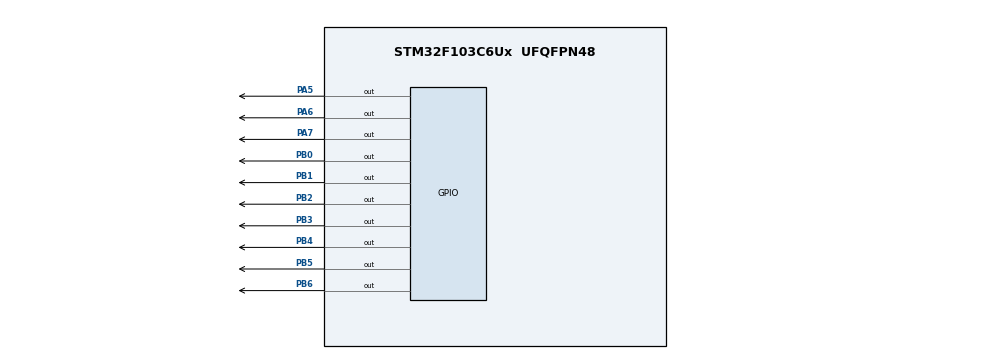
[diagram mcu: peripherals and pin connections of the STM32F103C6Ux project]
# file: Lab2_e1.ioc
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Mcu.Family=STM32F1
Mcu.Name=STM32F103C6Ux
Mcu.Package=UFQFPN48
NVIC.PriorityGroup=NVIC_PRIORITYGROUP_4
NVIC.TIM2_IRQn=true\:0\:0\:false\:false\:true\:true\:true
PA5.PinState=GPIO_PIN_SET
PA5.Signal=GPIO_Output
PA6.PinState=GPIO_PIN_SET
PA6.Signal=GPIO_Output
PA7.PinState=GPIO_PIN_SET
PA7.Signal=GPIO_Output
PB0.PinState=GPIO_PIN_SET
PB0.Signal=GPIO_Output
PB1.PinState=GPIO_PIN_SET
PB1.Signal=GPIO_Output
PB2.PinState=GPIO_PIN_SET
PB2.Signal=GPIO_Output
PB3.PinState=GPIO_PIN_SET
PB3.Signal=GPIO_Output
PB4.PinState=GPIO_PIN_SET
PB4.Signal=GPIO_Output
PB5.PinState=GPIO_PIN_SET
PB5.Signal=GPIO_Output
PB6.PinState=GPIO_PIN_SET
PB6.Signal=GPIO_Output
ProjectManager.HeapSize=0x200
ProjectManager.StackSize=0x400
ProjectManager.TargetToolchain=STM32CubeIDE
RCC.APB1Freq_Value=8000000
RCC.APB2Freq_Value=8000000
TIM2.Period=9
TIM2.Prescaler=7999
VP_SYS_VS_ND.Mode=No_Debug
VP_TIM2_VS_ClockSourceINT.Mode=Internal
board=custom

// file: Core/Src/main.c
/* USER CODE BEGIN Header */
/**
  ******************************************************************************
  * @file           : main.c
  * @brief          : Main program body
  ******************************************************************************
  * @attention
  *
  * <h2><center>&copy; Copyright (c) 2026 STMicroelectronics.
  * All rights reserved.</center></h2>
  *
  * This software component is licensed by ST under BSD 3-Clause license,
  * the "License"; You may not use this file except in compliance with the
  * License. You may obtain a copy of the License at:
  *                        opensource.org/licenses/BSD-3-Clause
  *
  ******************************************************************************
  */
/* USER CODE END Header */
#include "main.h"

/* USER CODE BEGIN PD */
#define SEG_A_Pin                  GPIO_PIN_0
#define SEG_B_Pin                  GPIO_PIN_1
#define SEG_C_Pin                  GPIO_PIN_2
#define SEG_D_Pin                  GPIO_PIN_3
#define SEG_E_Pin                  GPIO_PIN_4
#define SEG_F_Pin                  GPIO_PIN_5
#define SEG_G_Pin                  GPIO_PIN_6
#define SEG_GPIO_Port              GPIOB

#define EN0_Pin                    GPIO_PIN_6
#define EN1_Pin                    GPIO_PIN_7
#define EN_GPIO_Port               GPIOA

#define SEGMENT_PINS               (SEG_A_Pin | SEG_B_Pin | SEG_C_Pin | \
                                    SEG_D_Pin | SEG_E_Pin | SEG_F_Pin | \
                                    SEG_G_Pin)

#define DIGIT_ENABLE_PINS          (EN0_Pin | EN1_Pin)

/* TIM2 interrupt period is 10 ms.
 * 50 interrupts × 10 ms = 500 ms per digit.
 */
#define DIGIT_SLOT_TICKS           50U
/* USER CODE END PD */

TIM_HandleTypeDef htim2;

/* USER CODE BEGIN PV */

static volatile uint16_t scan_tick_count = 0U;
static volatile uint8_t active_digit = 0U;

/* USER CODE END PV */

void SystemClock_Config(void);
static void MX_GPIO_Init(void);
static void MX_TIM2_Init(void);

/* USER CODE BEGIN 0 */
static void disableAllDigits(void)
{
  /*
   * The PNP high-side digit drivers are active-low:
   * HIGH = digit disabled
   * LOW  = digit enabled
   */
  HAL_GPIO_WritePin(EN_GPIO_Port,
                    DIGIT_ENABLE_PINS,
                    GPIO_PIN_SET);
}

static void selectDigit(uint8_t index)
{
  if (index == 0U)
  {
    /* Enable the first seven-segment display. */
    HAL_GPIO_WritePin(EN_GPIO_Port,
                      EN0_Pin,
                      GPIO_PIN_RESET);
  }
  else
  {
    /* Enable the second seven-segment display. */
    HAL_GPIO_WritePin(EN_GPIO_Port,
                      EN1_Pin,
                      GPIO_PIN_RESET);
  }
}

void display7SEG(int num)
{
  static const uint16_t digit_pattern[10] =
  {
    0x3FU, /* 0: a b c d e f     */
    0x06U, /* 1:   b c           */
    0x5BU, /* 2: a b   d e   g   */
    0x4FU, /* 3: a b c d     g   */
    0x66U, /* 4:   b c     f g   */
    0x6DU, /* 5: a   c d   f g   */
    0x7DU, /* 6: a   c d e f g   */
    0x07U, /* 7: a b c           */
    0x7FU, /* 8: a b c d e f g   */
    0x6FU  /* 9: a b c d   f g   */
  };

  uint16_t on_pins;
  uint16_t off_pins;

  if ((num < 0) || (num > 9))
  {
    /* Invalid number: switch all segments off. */
    HAL_GPIO_WritePin(SEG_GPIO_Port,
                      SEGMENT_PINS,
                      GPIO_PIN_SET);
    return;
  }

  on_pins = digit_pattern[num] & SEGMENT_PINS;
  off_pins = SEGMENT_PINS & (uint16_t)(~on_pins);

  SEG_GPIO_Port->BSRR =
      (uint32_t)off_pins |
      ((uint32_t)on_pins << 16U);
}
/* USER CODE END 0 */

int main(void)
{

  /* MCU Configuration--------------------------------------------------------*/

  /* Reset of all peripherals, Initializes the Flash interface and the Systick. */
  HAL_Init();

  /* Configure the system clock */
  SystemClock_Config();

  /* Initialize all configured peripherals */
  MX_GPIO_Init();
  MX_TIM2_Init();
  /* USER CODE BEGIN 2 */
  scan_tick_count = 0U;
  active_digit = 0U;

  disableAllDigits();
  display7SEG(1);
  selectDigit(active_digit);

  if (HAL_TIM_Base_Start_IT(&htim2) != HAL_OK)
  {
    Error_Handler();
  }
  /* USER CODE END 2 */

  /* Infinite loop */
  while (1)
  {

  }
}

void SystemClock_Config(void)
{
  RCC_OscInitTypeDef RCC_OscInitStruct = {0};
  RCC_ClkInitTypeDef RCC_ClkInitStruct = {0};

  /** Initializes the RCC Oscillators according to the specified parameters
  * in the RCC_OscInitTypeDef structure.
  */
  RCC_OscInitStruct.OscillatorType = RCC_OSCILLATORTYPE_HSI;
  RCC_OscInitStruct.HSIState = RCC_HSI_ON;
  RCC_OscInitStruct.HSICalibrationValue = RCC_HSICALIBRATION_DEFAULT;
  RCC_OscInitStruct.PLL.PLLState = RCC_PLL_NONE;
  if (HAL_RCC_OscConfig(&RCC_OscInitStruct) != HAL_OK)
  {
    Error_Handler();
  }
  /** Initializes the CPU, AHB and APB buses clocks
  */
  RCC_ClkInitStruct.ClockType = RCC_CLOCKTYPE_HCLK|RCC_CLOCKTYPE_SYSCLK
                              |RCC_CLOCKTYPE_PCLK1|RCC_CLOCKTYPE_PCLK2;
  RCC_ClkInitStruct.SYSCLKSource = RCC_SYSCLKSOURCE_HSI;
  RCC_ClkInitStruct.AHBCLKDivider = RCC_SYSCLK_DIV1;
  RCC_ClkInitStruct.APB1CLKDivider = RCC_HCLK_DIV1;
  RCC_ClkInitStruct.APB2CLKDivider = RCC_HCLK_DIV1;

  if (HAL_RCC_ClockConfig(&RCC_ClkInitStruct, FLASH_LATENCY_0) != HAL_OK)
  {
    Error_Handler();
  }
}

static void MX_TIM2_Init(void)
{

  TIM_ClockConfigTypeDef sClockSourceConfig = {0};
  TIM_MasterConfigTypeDef sMasterConfig = {0};

  htim2.Instance = TIM2;
  htim2.Init.Prescaler = 7999;
  htim2.Init.CounterMode = TIM_COUNTERMODE_UP;
  htim2.Init.Period = 9;
  htim2.Init.ClockDivision = TIM_CLOCKDIVISION_DIV1;
  htim2.Init.AutoReloadPreload = TIM_AUTORELOAD_PRELOAD_DISABLE;
  if (HAL_TIM_Base_Init(&htim2) != HAL_OK)
  {
    Error_Handler();
  }
  sClockSourceConfig.ClockSource = TIM_CLOCKSOURCE_INTERNAL;
  if (HAL_TIM_ConfigClockSource(&htim2, &sClockSourceConfig) != HAL_OK)
  {
    Error_Handler();
  }
  sMasterConfig.MasterOutputTrigger = TIM_TRGO_RESET;
  sMasterConfig.MasterSlaveMode = TIM_MASTERSLAVEMODE_DISABLE;
  if (HAL_TIMEx_MasterConfigSynchronization(&htim2, &sMasterConfig) != HAL_OK)
  {
    Error_Handler();
  }

}

static void MX_GPIO_Init(void)
{
  GPIO_InitTypeDef GPIO_InitStruct = {0};

  /* GPIO Ports Clock Enable */
  __HAL_RCC_GPIOA_CLK_ENABLE();
  __HAL_RCC_GPIOB_CLK_ENABLE();

  /*Configure GPIO pin Output Level */
  HAL_GPIO_WritePin(GPIOA, GPIO_PIN_5|GPIO_PIN_6|GPIO_PIN_7, GPIO_PIN_SET);

  /*Configure GPIO pin Output Level */
  HAL_GPIO_WritePin(GPIOB, GPIO_PIN_0|GPIO_PIN_1|GPIO_PIN_2|GPIO_PIN_3
                          |GPIO_PIN_4|GPIO_PIN_5|GPIO_PIN_6, GPIO_PIN_SET);

  /*Configure GPIO pins : PA5 PA6 PA7 */
  GPIO_InitStruct.Pin = GPIO_PIN_5|GPIO_PIN_6|GPIO_PIN_7;
  GPIO_InitStruct.Mode = GPIO_MODE_OUTPUT_PP;
  GPIO_InitStruct.Pull = GPIO_NOPULL;
  GPIO_InitStruct.Speed = GPIO_SPEED_FREQ_LOW;
  HAL_GPIO_Init(GPIOA, &GPIO_InitStruct);

  /*Configure GPIO pins : PB0 PB1 PB2 PB3
                           PB4 PB5 PB6 */
  GPIO_InitStruct.Pin = GPIO_PIN_0|GPIO_PIN_1|GPIO_PIN_2|GPIO_PIN_3
                          |GPIO_PIN_4|GPIO_PIN_5|GPIO_PIN_6;
  GPIO_InitStruct.Mode = GPIO_MODE_OUTPUT_PP;
  GPIO_InitStruct.Pull = GPIO_NOPULL;
  GPIO_InitStruct.Speed = GPIO_SPEED_FREQ_LOW;
  HAL_GPIO_Init(GPIOB, &GPIO_InitStruct);

}

/* USER CODE BEGIN 4 */
void HAL_TIM_PeriodElapsedCallback(TIM_HandleTypeDef *htim)
{
  /* Ignore interrupts belonging to other timer peripherals. */
  if (htim->Instance != TIM2)
  {
    return;
  }

  /*
   * TIM2 interrupts every 10 ms:
   *
   * 50 interrupts × 10 ms = 500 ms.
   */
  scan_tick_count++;

  if (scan_tick_count >= DIGIT_SLOT_TICKS)
  {
    scan_tick_count = 0U;

    /* Alternate between digit index 0 and digit index 1. */
    active_digit ^= 1U;

    disableAllDigits();

    if (active_digit == 0U)
    {
      display7SEG(1);
    }
    else
    {
      display7SEG(2);
    }

    /* Enable only the newly selected display. */
    selectDigit(active_digit);
  }
}
/* USER CODE END 4 */

void Error_Handler(void)
{
  __disable_irq();
  while (1)
  {
  }
}

/************************ (C) COPYRIGHT STMicroelectronics *****END OF FILE****/
